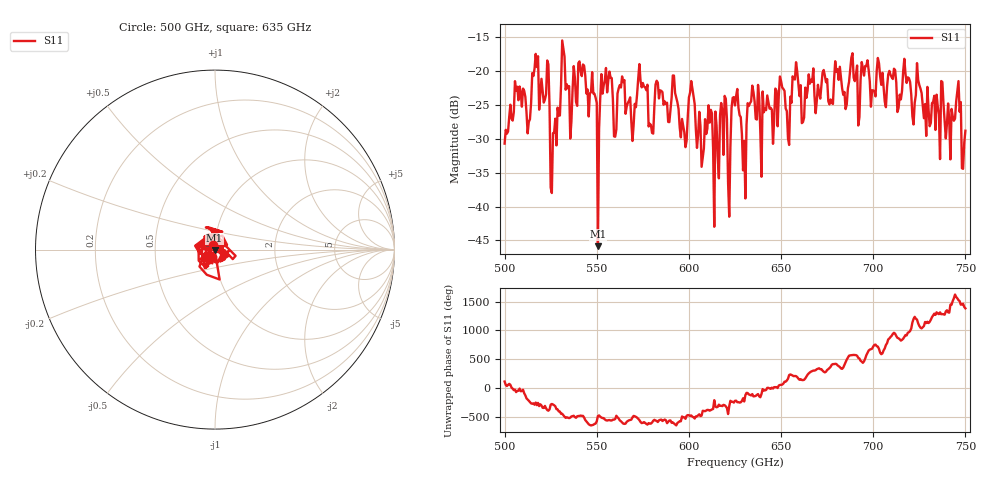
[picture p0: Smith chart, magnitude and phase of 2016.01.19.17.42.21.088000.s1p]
!Created with skrf (http://scikit-rf.org).
# GHz S RI R 50.0
!freq ReS11 ImS11
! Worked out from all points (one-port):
!   401 points, 500 GHz to 750 GHz, reference 50 ohm
!   lowest |S11| = -45.8 dB at 550.6 GHz (marker M1), VSWR 1.01, Z = 49.7 - j0.441 ohm
!   |S11| at or under -10 dB: start of sweep to end of sweep
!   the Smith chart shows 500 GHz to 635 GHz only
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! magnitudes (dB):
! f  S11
! 500 GHz  -30.7
! 506.9 GHz  -22.3
! 513.1 GHz  -27.5
! 516.9 GHz  -17.5
! 523.1 GHz  -18.4
! 526.2 GHz  -29.2
! 531.2 GHz  -15.5
! 535.6 GHz  -30.0
! 541.9 GHz  -20.7
! 550.6 GHz  -45.8
! 553.8 GHz  -22.1
! 560 GHz  -29.7
! 562.5 GHz  -22.1
! 593.8 GHz  -24.6
! 611.2 GHz  -27.6
! 615 GHz  -28.1
! 618.8 GHz  -32.4
! 621.9 GHz  -41.5
! 625 GHz  -25.1
! 630 GHz  -30.3
! 633.8 GHz  -24.5
! 653.8 GHz  -29.9
! 656.2 GHz  -20.8
! 687.5 GHz  -19.9
! 718.8 GHz  -20.9
! 740.6 GHz  -24.8
! 746.2 GHz  -21.5
! 750 GHz  -28.8
